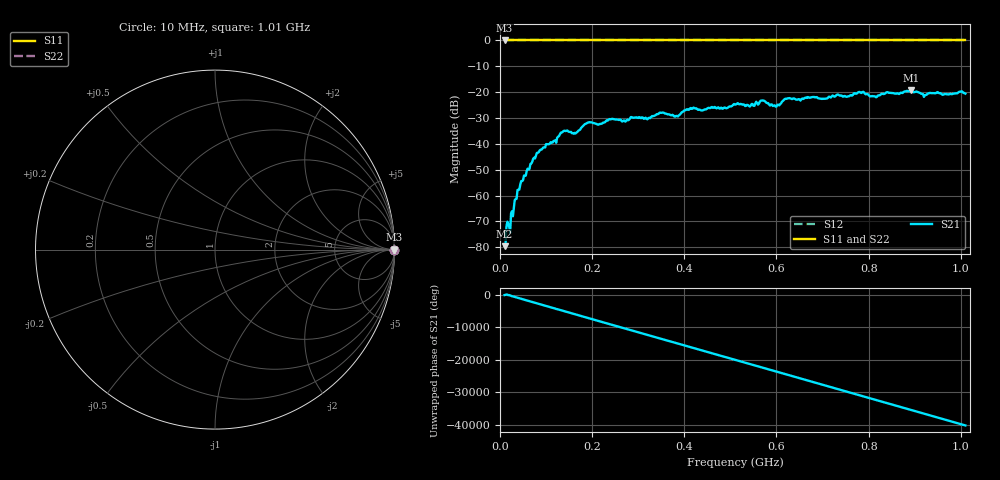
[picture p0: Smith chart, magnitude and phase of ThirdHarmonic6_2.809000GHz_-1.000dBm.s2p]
! 8/17/2025 7:22:06 AM
! C:\ANRITSUVNA\TEMP\TEMP.S2P
! CHANNEL.1
! TR.MEASUREMENT
! RAW.DATA
! RF.CORRECTION.OFF
! AVERAGING.OFF
! IF.BANDWIDTH: 5KHZ
! SWEEPTYPE:  FREQ.SWEEP(Linear)
! Reference Plane Port Info
! PORT:  PORT1  PORT2
! DISTANCE:  0  m  0  m
! TIME:  0  s  0  s
! PHASE.OFFSET:  0  deg.  0  deg.
! LOSS:  0  dB  0  dB
! REF.LOSS:  0  dB  0  dB
! REF.FREQ:  0  Hz  0  Hz
! Power Info
! POWER:  -20  dBm  -20  dBm
! EFF.POWER:  -20  dBm  -20  dBm
! SOURCE.ATTEN:  0  dB  0  dB
! TEST.ATTEN:  0  dB  0  dB
# GHZ S RI R 50.0
! FREQ.GHZ  S11RE  S11IM  S21RE  S21IM  S12RE  S12IM  S22RE  S22IM
!; PortSelection: Port_12
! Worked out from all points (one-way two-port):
!   501 points, 10 MHz to 1.01 GHz, reference 50 ohm
!   highest |S21| = -19.22 dB at 892 MHz (marker M1); lowest = -79.6 dB at 10 MHz (marker M2)
!   lowest |S11| = 0.0 dB at 10 MHz (marker M3)
!   |S11| at or under -10 dB: nowhere
!   |S22| runs from 0.0 to 0.0 dB; largest |S21 - S12| = 1.1
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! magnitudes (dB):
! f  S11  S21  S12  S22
! 10 MHz  0.0  -79.6  0.0  0.0
! 42 MHz  0.0  -57.7  0.0  0.0
! 76 MHz  0.0  -45.7  0.0  0.0
! 136 MHz  0.0  -35.4  0.0  0.0
! 162 MHz  0.0  -35.8  0.0  0.0
! 178 MHz  0.0  -33.5  0.0  0.0
! 194 MHz  0.0  -31.6  0.0  0.0
! 322 MHz  0.0  -30.0  0.0  0.0
! 344 MHz  0.0  -28.4  0.0  0.0
! 382 MHz  0.0  -29.2  0.0  0.0
! 416 MHz  0.0  -26.5  0.0  0.0
! 510 MHz  0.0  -24.8  0.0  0.0
! 570 MHz  0.0  -23.2  0.0  0.0
! 596 MHz  0.0  -25.1  0.0  0.0
! 622 MHz  0.0  -22.6  0.0  0.0
! 678 MHz  0.0  -21.9  0.0  0.0
! 784 MHz  0.0  -20.3  0.0  0.0
! 814 MHz  0.0  -21.7  0.0  0.0
! 844 MHz  0.0  -20.3  0.0  0.0
! 892 MHz  0.0  -19.2  0.0  0.0
! 922 MHz  0.0  -21.2  0.0  0.0
! 1.01 GHz  0.0  -20.6  0.0  0.0
